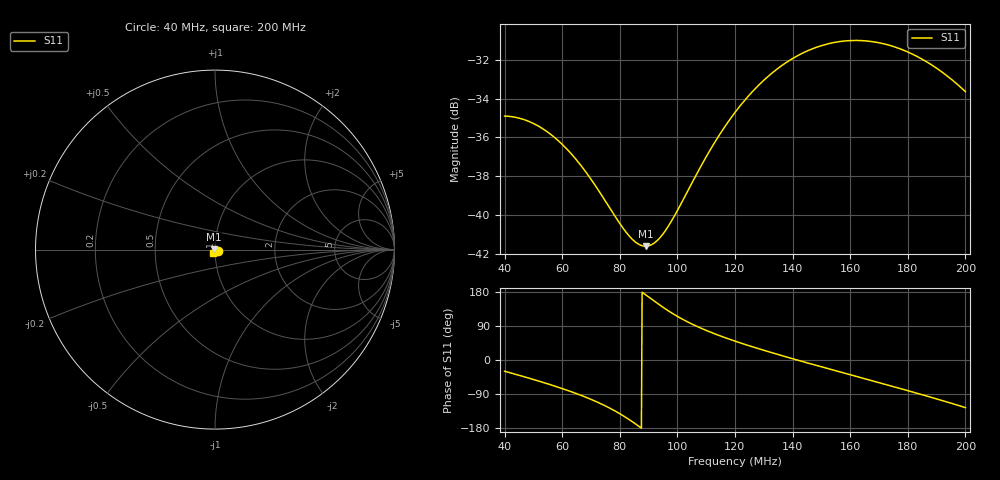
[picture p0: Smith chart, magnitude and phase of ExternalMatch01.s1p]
# Hz S RI R 50
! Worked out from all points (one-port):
!   641 points, 40 MHz to 200 MHz, reference 50 ohm
!   lowest |S11| = -41.6 dB at 89 MHz (marker M1), VSWR 1.02, Z = 49.2 + j0.116 ohm
!   |S11| at or under -10 dB: start of sweep to end of sweep
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4e7  0.0156 -0.00891
4.5e7  0.0136 -0.0115
5e7  0.0108 -0.0135
5.5e7  0.00743 -0.0146
6e7  0.00384 -0.0147
6.4e7  0.000978 -0.0141
6.825e7  -0.00188 -0.0128
8e7  -0.00746 -0.00588
8.5e7  -0.00831 -0.00203
8.7e7  -0.00835 -0.000429
8.9e7  -0.00822 0.00118
9.15e7  -0.00779 0.00317
9.4e7  -0.00709 0.00511
9.675e7  -0.00602 0.00712
1e8  -0.00435 0.00929
1.1125e8  0.00399 0.0141
1.1575e8  0.00801 0.0145
1.2e8  0.0119 0.0141
1.2475e8  0.016 0.0125
1.2975e8  0.0199 0.00979
1.3475e8  0.0231 0.00612
1.4e8  0.0253 0.00148
1.5e8  0.026 -0.00845
1.6e8  0.022 -0.0177
1.7e8  0.014 -0.0241
1.8e8  0.00418 -0.026
1.8975e8  -0.00503 -0.0235
2e8  -0.0121 -0.0169
